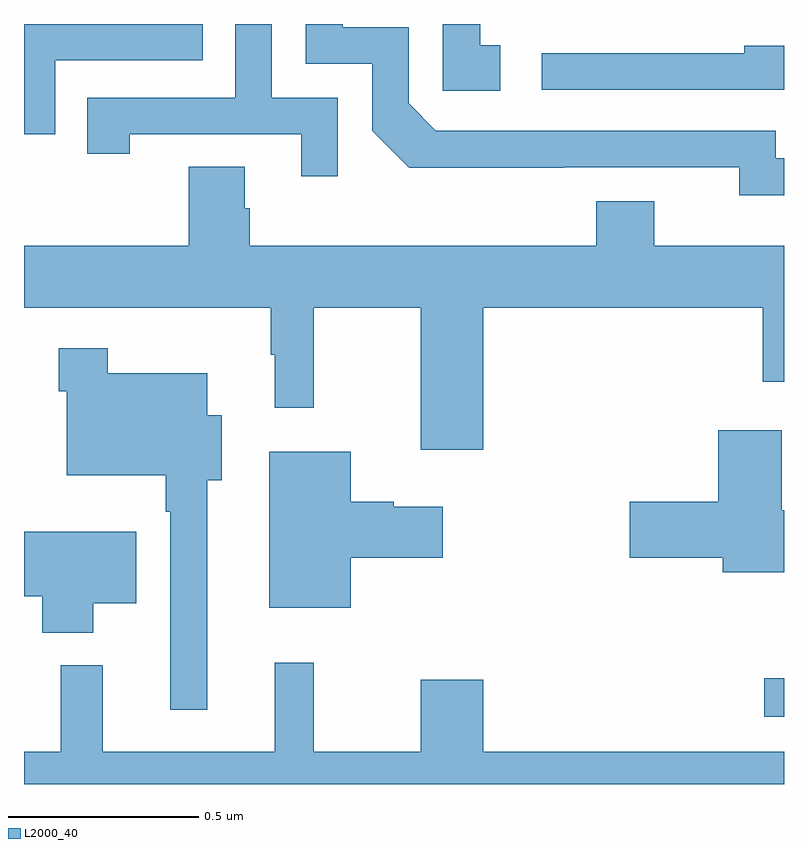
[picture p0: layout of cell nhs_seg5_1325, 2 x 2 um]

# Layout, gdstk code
import gdstk
lib = gdstk.Library(unit=1e-6, precision=1e-09)
def R(c, l, rs):  # rectangles x0, y0, x1, y1
    for r in rs: c.add(gdstk.rectangle(r[:2], r[2:], *l))
def P(c, l, *ps):  # polygons
    for p in ps: c.add(gdstk.Polygon(p, *l))
L2000_40 = (2000, 40)

nhs_seg5_1325 = lib.new_cell('nhs_seg5_1325')
R(nhs_seg5_1325, L2000_40, [(129.948,896.976,130,897.077)])
P(nhs_seg5_1325, L2000_40, [(129.253,898.743),(129.2,898.743),(129.2,898.799),(129.102,898.799),(129.102,898.623),(129.253,898.623)],
  [(130,898.446),(129.978,898.446),(129.978,898.518),(129.084,898.518),(129.012,898.59),(129.012,898.791),(128.839,898.791),(128.839,898.799),(128.742,898.799),(128.742,898.695),(128.916,898.695),(128.916,898.518),(129.014,898.421),(129.422,898.421),(129.422,898.422),(129.882,898.422),(129.882,898.349),(130,898.349)],
  [(128.082,898.704),(128.471,898.704),(128.471,898.799),(128,898.799),(128,898.509),(128.082,898.509)],
  [(128.826,898.605),(128.652,898.605),(128.652,898.799),(128.556,898.799),(128.556,898.605),(128.167,898.605),(128.167,898.458),(128.278,898.458),(128.278,898.509),(128.729,898.509),(128.729,898.398),(128.826,898.398)],
  [(130,898.742),(129.895,898.742),(129.895,898.722),(129.363,898.722),(129.363,898.626),(130,898.626)],
  [(129.208,898.052),(129.944,898.052),(129.944,897.858),(130,897.858),(130,898.216),(129.658,898.216),(129.658,898.333),(129.506,898.333),(129.506,898.216),(128.594,898.216),(128.594,898.314),(128.581,898.314),(128.581,898.424),(128.434,898.424),(128.434,898.216),(128,898.216),(128,898.052),(128.649,898.052),(128.649,897.929),(128.66,897.929),(128.66,897.789),(128.762,897.789),(128.762,898.052),(129.044,898.052),(129.044,897.678),(129.208,897.678)],
  [(128.482,897.599),(128.521,897.599),(128.521,897.769),(128.482,897.769),(128.482,897.88),(128.221,897.88),(128.221,897.946),(128.092,897.946),(128.092,897.833),(128.112,897.833),(128.112,897.611),(128.373,897.611),(128.373,897.515),(128.385,897.515),(128.385,896.994),(128.482,896.994)],
  [(130,897.519),(129.994,897.519),(129.994,897.73),(129.827,897.73),(129.827,897.542),(129.594,897.542),(129.594,897.395),(129.839,897.395),(129.839,897.356),(130,897.356)],
  [(128.86,897.395),(129.102,897.395),(129.102,897.529),(128.973,897.529),(128.973,897.542),(128.86,897.542),(128.86,897.673),(128.645,897.673),(128.645,897.263),(128.86,897.263)],
  [(128.182,897.275),(128.296,897.275),(128.296,897.463),(128,897.463),(128,897.293),(128.048,897.293),(128.048,897.197),(128.182,897.197)],
  [(130,896.884),(129.208,896.884),(129.208,897.073),(129.044,897.073),(129.044,896.884),(128.762,896.884),(128.762,897.118),(128.66,897.118),(128.66,896.884),(128.207,896.884),(128.207,897.112),(128.097,897.112),(128.097,896.884),(128,896.884),(128,896.799),(130,896.799)])

lib.write_gds('nhs_seg5_1325.gds')
